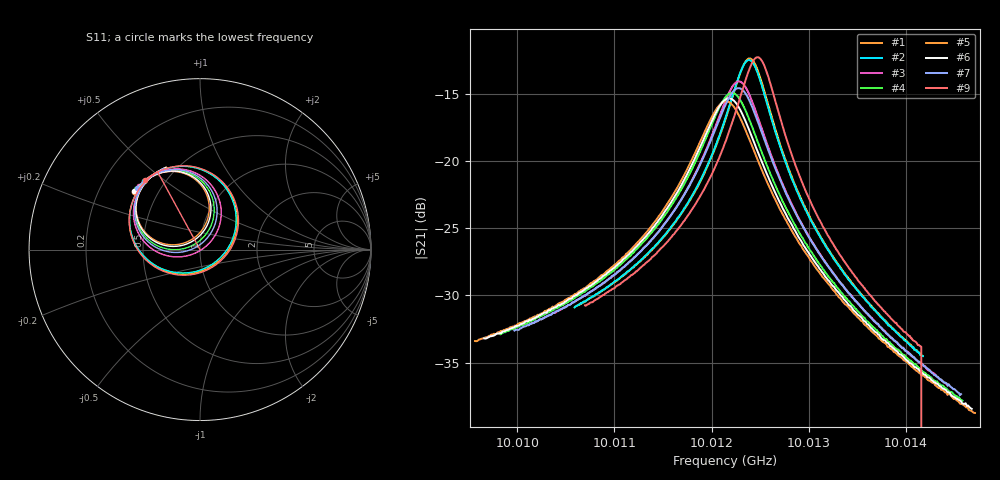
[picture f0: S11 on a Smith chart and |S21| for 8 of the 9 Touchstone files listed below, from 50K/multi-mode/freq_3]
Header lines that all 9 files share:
#  HZ  S  RI  R  50.00
! Rohde & Schwarz Vector Network Analyzer
! Rohde-Schwarz,ZNB20-2Port,1311601062101988,3.16
! freq[Hz]  re:S11  im:S11  re:S21  im:S21  re:S12  im:S12  re:S22  im:S22
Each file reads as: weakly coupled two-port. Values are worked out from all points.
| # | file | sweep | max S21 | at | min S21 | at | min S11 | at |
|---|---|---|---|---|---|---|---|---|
| 1 | 24_3_48.1005_50.1299019_13247.974_.s2p | 10.01062 GHz to 10.01416 GHz | -12.37 dB | 10.01239 GHz | -34.4 dB | 10.01416 GHz | -18.5 dB | 10.01241 GHz |
| 2 | 26_3_48.0969_50.1289902_14429.528_.s2p | 10.01059 GHz to 10.01418 GHz | -12.48 dB | 10.01238 GHz | -34.5 dB | 10.01418 GHz | -19.1 dB | 10.0124 GHz |
| 3 | 63_3_48.1005_50.0973511_37282.59_.s2p | 10.01012 GHz to 10.01444 GHz | -14.08 dB | 10.01228 GHz | -36.6 dB | 10.01444 GHz | -39.4 dB | 10.0123 GHz |
| 4 | 93_3_48.1012_50.0693779_55331.875_.s2p | 10.00983 GHz to 10.01459 GHz | -14.92 dB | 10.01221 GHz | -37.8 dB | 10.01459 GHz | -27.2 dB | 10.01223 GHz |
| 5 | 183_3_48.1022_50.0498428_71197.953_.s2p | 10.00956 GHz to 10.01471 GHz | -15.55 dB | 10.01214 GHz | -38.7 dB | 10.01471 GHz | -22.4 dB | 10.01216 GHz |
| 6 | 193_3_48.1022_50.0607986_65246.336_.s2p | 10.00966 GHz to 10.01468 GHz | -15.34 dB | 10.01218 GHz | -38.4 dB | 10.01468 GHz | -23.8 dB | 10.01219 GHz |
| 7 | 224_3_48.0975_50.0998764_46650.828_.s2p | 10.00997 GHz to 10.01457 GHz | -14.58 dB | 10.01228 GHz | -37.4 dB | 10.01456 GHz | -32.4 dB | 10.01229 GHz |
| 8 | 268_3_48.0985_50.1516266_20415.043_.s2p | 10.01047 GHz to 10.01435 GHz | -13.09 dB | 10.01242 GHz | -35.0 dB | 10.0143 GHz | -23.3 dB | 10.01243 GHz |
| 9 | 284_3_48.1015_50.1660385_10731.468_.s2p | 10.0107 GHz to 10.01424 GHz | -12.28 dB | 10.01248 GHz | -33.8 dB | 10.01416 GHz | -18.0 dB | 10.01249 GHz |
